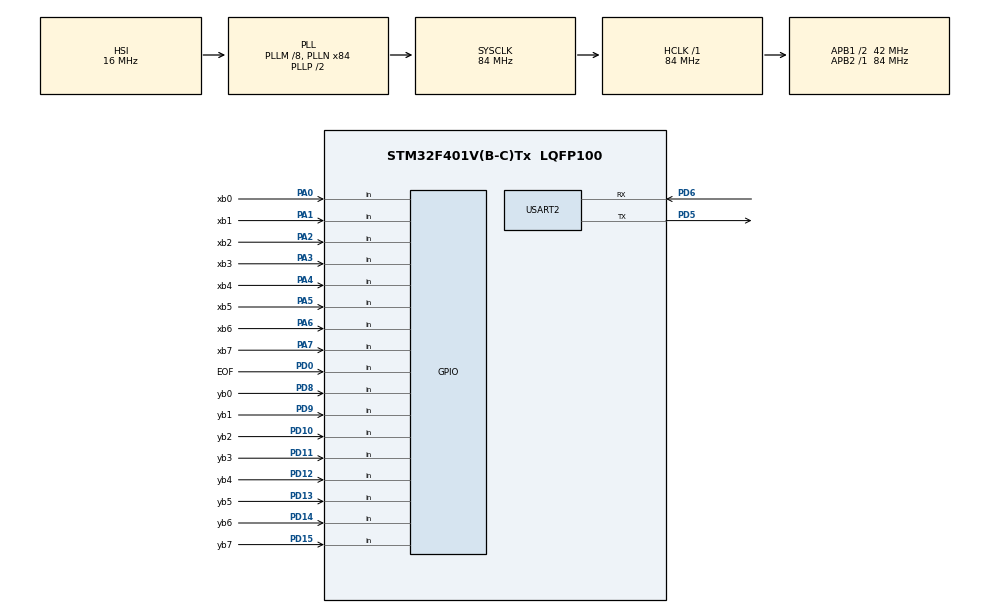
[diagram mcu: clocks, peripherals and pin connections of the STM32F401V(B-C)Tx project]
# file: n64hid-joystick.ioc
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Mcu.Family=STM32F4
Mcu.Name=STM32F401V(B-C)Tx
Mcu.Package=LQFP100
NVIC.PriorityGroup=NVIC_PRIORITYGROUP_0
NVIC.TIM1_UP_TIM10_IRQn=true\:0\:0\:false\:false\:true\:true\:true\:true
PA0-WKUP.GPIO_Label=xb0
PA0-WKUP.Signal=GPIO_Input
PA1.GPIO_Label=xb1
PA1.Signal=GPIO_Input
PA2.GPIO_Label=xb2
PA2.Signal=GPIO_Input
PA3.GPIO_Label=xb3
PA3.Signal=GPIO_Input
PA4.GPIO_Label=xb4
PA4.Signal=GPIO_Input
PA5.GPIO_Label=xb5
PA5.Signal=GPIO_Input
PA6.GPIO_Label=xb6
PA6.Signal=GPIO_Input
PA7.GPIO_Label=xb7
PA7.Signal=GPIO_Input
PD0.GPIO_Label=EOF
PD0.Signal=GPIO_Input
PD10.GPIO_Label=yb2
PD10.Signal=GPIO_Input
PD11.GPIO_Label=yb3
PD11.Signal=GPIO_Input
PD12.GPIO_Label=yb4
PD12.Signal=GPIO_Input
PD13.GPIO_Label=yb5
PD13.Signal=GPIO_Input
PD14.GPIO_Label=yb6
PD14.Signal=GPIO_Input
PD15.GPIO_Label=yb7
PD15.Signal=GPIO_Input
PD5.Mode=Asynchronous
PD5.Signal=USART2_TX
PD6.Mode=Asynchronous
PD6.Signal=USART2_RX
PD8.GPIO_Label=yb0
PD8.Signal=GPIO_Input
PD9.GPIO_Label=yb1
PD9.Signal=GPIO_Input
PH0\ -\ OSC_IN.Mode=HSE-External-Oscillator
PH0\ -\ OSC_IN.Signal=RCC_OSC_IN
PH1\ -\ OSC_OUT.Mode=HSE-External-Oscillator
PH1\ -\ OSC_OUT.Signal=RCC_OSC_OUT
ProjectManager.HeapSize=0x200
ProjectManager.StackSize=0x400
ProjectManager.TargetToolchain=Makefile
RCC.48MHZClocksFreq_Value=24000000
RCC.AHBFreq_Value=84000000
RCC.APB1CLKDivider=RCC_HCLK_DIV2
RCC.APB1Freq_Value=42000000
RCC.APB1TimFreq_Value=84000000
RCC.APB2Freq_Value=84000000
RCC.APB2TimFreq_Value=84000000
RCC.CortexFreq_Value=84000000
RCC.HCLKFreq_Value=84000000
RCC.HSE_VALUE=8000000
RCC.HSI_VALUE=16000000
RCC.LSE_VALUE=32768
RCC.PLLM=8
RCC.PLLN=84
RCC.PLLQ=7
RCC.SYSCLKFreq_VALUE=84000000
RCC.SYSCLKSource=RCC_SYSCLKSOURCE_PLLCLK
RCC.VCOOutputFreq_Value=168000000
USART2.VirtualMode=VM_ASYNC
VP_TIM1_VS_ClockSourceINT.Mode=Internal
board=STM32F401C-DISCO

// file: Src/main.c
/* USER CODE BEGIN Header */
/**
  ******************************************************************************
  * @file           : main.c
  * @brief          : Main program body
  ******************************************************************************
  * @attention
  *
  * Copyright (c) 2024 STMicroelectronics.
  * All rights reserved.
  *
  * This software is licensed under terms that can be found in the LICENSE file
  * in the root directory of this software component.
  * If no LICENSE file comes with this software, it is provided AS-IS.
  *
  ******************************************************************************
  */
/* USER CODE END Header */
#include "main.h"
#include "stm32f4xx_hal_gpio.h"
#include "tim.h"
#include "usart.h"
#include "gpio.h"

/* USER CODE BEGIN Includes */
#include <math.h>
#include <stdint.h>
#include <stdlib.h>
/* USER CODE END Includes */

/* USER CODE BEGIN PTD */
struct Data{
    uint32_t time;
    float x;
    float y;
};
/* USER CODE END PTD */

/* USER CODE BEGIN PD */
uint8_t n64_get_x();
uint8_t n64_get_y();
/* USER CODE END PD */

void SystemClock_Config(void);

int main(void)
{

  /* MCU Configuration--------------------------------------------------------*/

  /* Reset of all peripherals, Initializes the Flash interface and the Systick. */
  HAL_Init();

  /* Configure the system clock */
  SystemClock_Config();

  /* Initialize all configured peripherals */
  MX_GPIO_Init();
  MX_TIM1_Init();
  MX_USART2_UART_Init();
  /* USER CODE BEGIN 2 */
  HAL_TIM_Base_Start_IT(&htim1);
  uint8_t min_x = 0x6E;
  uint8_t max_x = 0x92;
  uint8_t min_y = 0x6E;
  uint8_t max_y = 0x92;

  uint8_t x_val = 0x80;
  uint8_t y_val = 0x80;

  struct Data *data_ptr = (struct Data*)malloc(sizeof(struct Data)*2000);
  uint16_t i = 0;
  uint16_t reached = 0;
  /* USER CODE END 2 */

  /* Infinite loop */
  /* USER CODE BEGIN WHILE */
  while (1)
  {
    x_val = n64_get_x();
    y_val = n64_get_y();
    // if (x_val < min_x) {
    //   min_x = x_val;
    // }
    // if (x_val > max_x) {
    //   max_x = x_val;
    // }
    // if (y_val < min_y) {
    //   min_y = y_val;
    // }
    // if (y_val > max_y) {
    //   max_y = y_val;
    // }
    float out_x = (float) ((float)((x_val - min_x) * (2)) / (max_x - min_x)) - (float)1;
    float out_y = (float) ((float)((y_val - min_y) * (2)) / (max_y - min_y)) - (float)1;
    // printf("%ld, %f, %f, hex x = %x, hex y = %x\r\n", get_time_ms(), out_x, out_y, x_val, y_val);
    data_ptr[i].time = get_time_ms();
    data_ptr[i].x = out_x;
    data_ptr[i].y = out_y;
    i++;
    if (i >= 2000)
    {
      i = 0;
      reached = 1;
    }
    if(HAL_GPIO_ReadPin(EOF_GPIO_Port, EOF_Pin) == GPIO_PIN_SET){
      if (reached == 1) reached = 2000;
      else {
        reached = i;
        i = 0;
      }
      for(int j = 0; j < reached; j++)
      {
        printf("%d,%f,%f\r\n", data_ptr[i].time, data_ptr[i].x, data_ptr[i].y);
        i++;
        if (i >= 2000) i = 0;
      }
      printf("End of Transmission\r\n");
    }
    delay_ms(10);

    /* USER CODE END WHILE */

  }
}

void SystemClock_Config(void)
{
  RCC_OscInitTypeDef RCC_OscInitStruct = {0};
  RCC_ClkInitTypeDef RCC_ClkInitStruct = {0};

  /** Configure the main internal regulator output voltage
  */
  __HAL_RCC_PWR_CLK_ENABLE();
  __HAL_PWR_VOLTAGESCALING_CONFIG(PWR_REGULATOR_VOLTAGE_SCALE2);

  /** Initializes the RCC Oscillators according to the specified parameters
  * in the RCC_OscInitTypeDef structure.
  */
  RCC_OscInitStruct.OscillatorType = RCC_OSCILLATORTYPE_HSI;
  RCC_OscInitStruct.HSIState = RCC_HSI_ON;
  RCC_OscInitStruct.HSICalibrationValue = RCC_HSICALIBRATION_DEFAULT;
  RCC_OscInitStruct.PLL.PLLState = RCC_PLL_ON;
  RCC_OscInitStruct.PLL.PLLSource = RCC_PLLSOURCE_HSI;
  RCC_OscInitStruct.PLL.PLLM = 8;
  RCC_OscInitStruct.PLL.PLLN = 84;
  RCC_OscInitStruct.PLL.PLLP = RCC_PLLP_DIV2;
  RCC_OscInitStruct.PLL.PLLQ = 7;
  if (HAL_RCC_OscConfig(&RCC_OscInitStruct) != HAL_OK)
  {
    Error_Handler();
  }

  /** Initializes the CPU, AHB and APB buses clocks
  */
  RCC_ClkInitStruct.ClockType = RCC_CLOCKTYPE_HCLK|RCC_CLOCKTYPE_SYSCLK
                              |RCC_CLOCKTYPE_PCLK1|RCC_CLOCKTYPE_PCLK2;
  RCC_ClkInitStruct.SYSCLKSource = RCC_SYSCLKSOURCE_PLLCLK;
  RCC_ClkInitStruct.AHBCLKDivider = RCC_SYSCLK_DIV1;
  RCC_ClkInitStruct.APB1CLKDivider = RCC_HCLK_DIV2;
  RCC_ClkInitStruct.APB2CLKDivider = RCC_HCLK_DIV1;

  if (HAL_RCC_ClockConfig(&RCC_ClkInitStruct, FLASH_LATENCY_2) != HAL_OK)
  {
    Error_Handler();
  }
}

/* USER CODE BEGIN 4 */
/**
* @brief This function gets the value of the binary counter respoinsible for keeping track of the x-axis of a n64 joystick
* @retval X-axis value, signed 8-bit int
*/
uint8_t n64_get_x()
{
  uint8_t returval = 0;
  returval = returval | (HAL_GPIO_ReadPin(xb0_GPIO_Port, xb0_Pin));
  returval = returval | (HAL_GPIO_ReadPin(xb1_GPIO_Port, xb1_Pin)<<1);
  returval = returval | (HAL_GPIO_ReadPin(xb2_GPIO_Port, xb2_Pin)<<2);
  returval = returval | (HAL_GPIO_ReadPin(xb3_GPIO_Port, xb3_Pin)<<3);
  returval = returval | (HAL_GPIO_ReadPin(xb4_GPIO_Port, xb4_Pin)<<4);
  returval = returval | (HAL_GPIO_ReadPin(xb5_GPIO_Port, xb5_Pin)<<5);
  returval = returval | (HAL_GPIO_ReadPin(xb7_GPIO_Port, xb7_Pin)<<6);
  returval = returval | ((HAL_GPIO_ReadPin(xb7_GPIO_Port, xb7_Pin)^0x1)<<7);
  return returval;
}

uint8_t n64_get_y()
{
  uint8_t returval = 0;
  returval = returval | (HAL_GPIO_ReadPin(yb0_GPIO_Port, yb0_Pin));
  returval = returval | (HAL_GPIO_ReadPin(yb1_GPIO_Port, yb1_Pin)<<1);
  returval = returval | (HAL_GPIO_ReadPin(yb2_GPIO_Port, yb2_Pin)<<2);
  returval = returval | (HAL_GPIO_ReadPin(yb3_GPIO_Port, yb3_Pin)<<3);
  returval = returval | (HAL_GPIO_ReadPin(yb4_GPIO_Port, yb4_Pin)<<4);
  returval = returval | (HAL_GPIO_ReadPin(yb5_GPIO_Port, yb5_Pin)<<5);
  returval = returval | (HAL_GPIO_ReadPin(yb6_GPIO_Port, yb6_Pin)<<6);
  returval = returval | ((HAL_GPIO_ReadPin(yb7_GPIO_Port, yb7_Pin)^0x1)<<7);
  return returval;
}
/* USER CODE END 4 */

void Error_Handler(void)
{
  __disable_irq();
  while (1)
  {
  }
}
